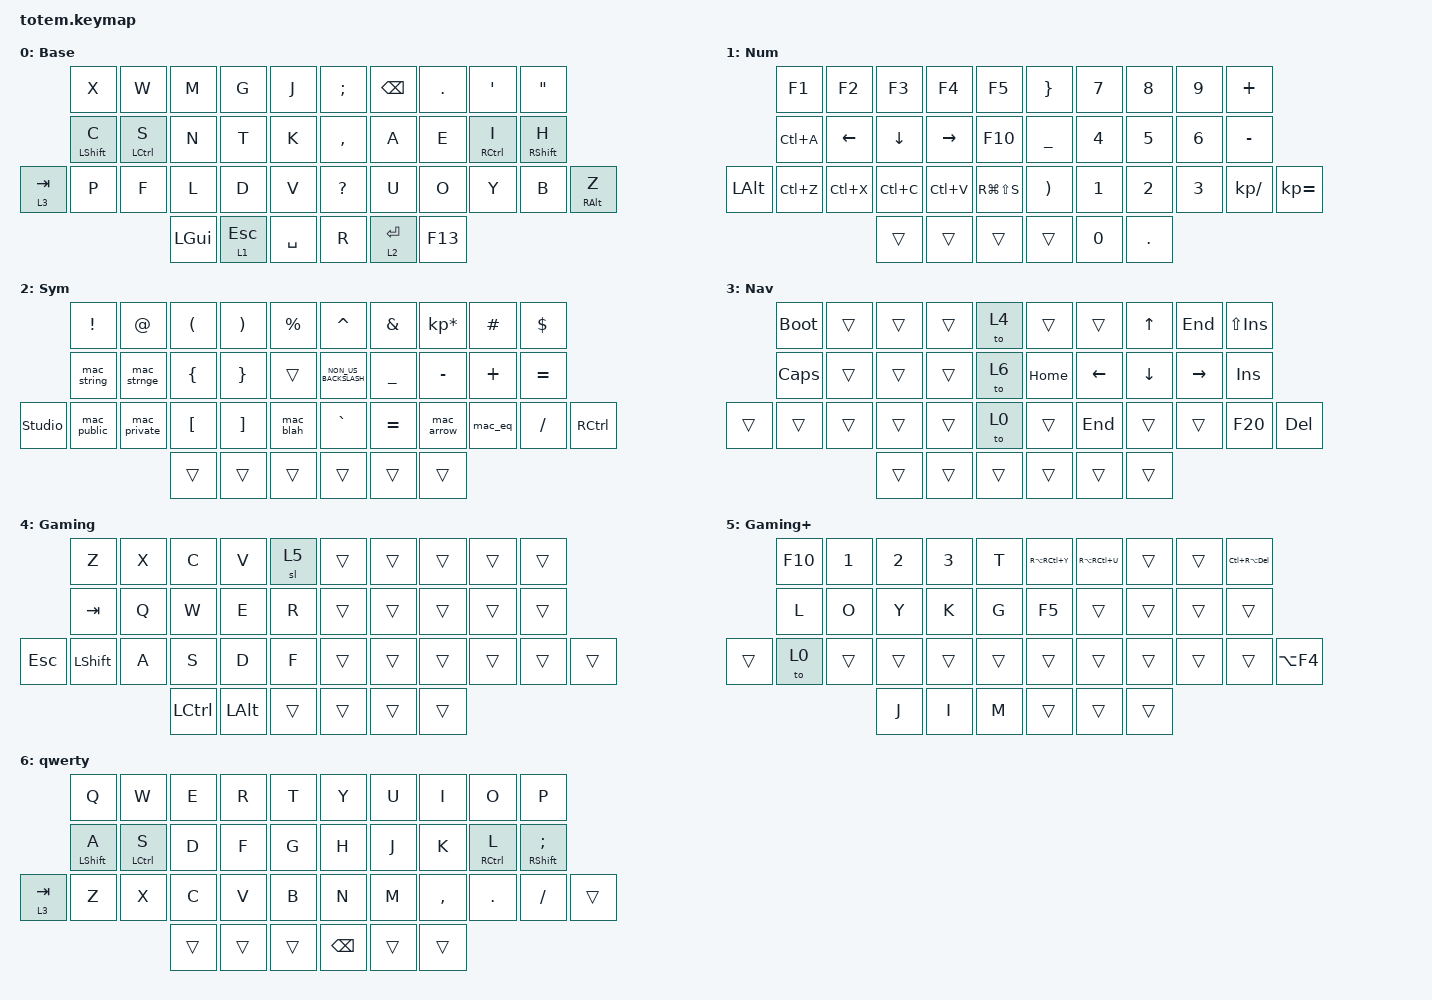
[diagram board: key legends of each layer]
//
//                                                        ▀▀▀▀▀     ▀▀▀▀▀          ▀▀█▀▀
//                                                        ▄▀▀▀▄  ▄  ▄▀▀▀▄  ▄  ▄▀▀▀▄  █  ▄▀▀▀▄
//                                                        █   █  █  █   █  █  █   █  █  █   █
//                                                         ▀▀▀   █   ▀▀▀   █   ▀▀▀   ▀   ▀▀▀
//                                                               █      ▄▄▄█▄▄▄    █   █  
//                                                               ▀      █  █  █     █▄█
//                                                             ▀▀▀▀▀    █  █  █      ▀
//                                                                      ▀  ▀  ▀
//
// ▄▄▄▄▄▄▄▄▄▄▄▄▄▄▄▄▄▄▄▄▄▄▄▄▄▄▄▄▄▄▄▄▄▄▄▄▄▄▄▄▄▄▄▄▄▄▄▄▄▄▄▄▄▄▄▄▄▄▄▄▄▄▄▄▄▄▄▄▄▄▄▄▄▄▄▄▄▄▄▄▄▄▄▄▄▄▄▄▄▄▄▄▄▄▄▄▄▄▄▄▄▄▄▄▄▄▄▄▄▄▄▄▄▄▄▄▄▄▄▄▄▄▄▄▄▄▄▄▄▄▄▄▄▄▄▄▄▄▄▄▄▄▄▄▄▄▄▄▄

#include <behaviors.dtsi>
#include <dt-bindings/zmk/keys.h>

#define Base        0
#define Nav         1
#define Sym         2
#define Fun         3
#define Game        4
#define Gameplus    5

&mt {
    quick-tap-ms = <100>;
    global-quick-tap;
    flavor = "tap-preferred";
    tapping-term-ms = <170>;
};

&lt {
    tapping-term-ms = <240>;
    flavor = "balanced";
    quick-tap-ms = <150>;
};

/ {
    behaviors {
        hm: homerow_mods {
            compatible = "zmk,behavior-hold-tap";
            label = "HOMEROW_MODS";
            #binding-cells = <2>;
            flavor = "tap-preferred";
            tapping-term-ms = <200>;
            quick-tap-ms = <125>;
            global-quick-tap;
            bindings = <&kp>, <&kp>;
        };
    };

    combos {
        compatible = "zmk,combos";

        cmb_q {
            bindings = <&kp Q>;
            key-positions = <24 25>;
        };

        cmb_qu {
            bindings = <&qu>;
            key-positions = <27 28>;
        };

        cmb_th {
            bindings = <&mac_th>;
            key-positions = <12 13>;
        };

        cmb_ch {
            bindings = <&mac_ch>;
            key-positions = <23 24>;
        };

        cmb_sh {
            bindings = <&mac_sh>;
            key-positions = <11 12>;
        };

        cmb_wh {
            bindings = <&mac_wh>;
            key-positions = <2 13>;
        };

        cmb_eq {
            bindings = <&mac_eq>;
            key-positions = <15 16>;
        };

        cmb_neq {
            bindings = <&mac_neq>;
            key-positions = <13 14>;
        };

        cmb_and {
            bindings = <&mac_and>;
            key-positions = <5 6>;
        };

        cmb_or {
            bindings = <&mac_or>;
            key-positions = <3 4>;
        };

        cmb_gt {
            bindings = <&mac_gte>;
            key-positions = <8 9>;
        };

        cmb_lt {
            bindings = <&mac_lte>;
            key-positions = <0 1>;
        };

        cmb_ph {
            bindings = <&mac_ph>;
            key-positions = <21 22>;
        };

        cmb_gh {
            bindings = <&mac_gh>;
            key-positions = <2 3>;
        };

        cmb_i {
            bindings = <&kp RS(I)>;
            key-positions = <16 15>;
        };

        cmb_up {
            bindings = <&kp UP_ARROW>;
            key-positions = <7 17>;
        };

        cmb_left {
            bindings = <&kp LEFT>;
            key-positions = <16 17>;
        };

        cmb_right {
            bindings = <&kp RIGHT>;
            key-positions = <17 18>;
        };

        cmb_down {
            bindings = <&kp DOWN>;
            key-positions = <17 28>;
        };

        cmb_home {
            bindings = <&kp HOME>;
            key-positions = <15 26>;
        };

        cmb_end {
            bindings = <&kp END>;
            key-positions = <16 27>;
        };

        cmb_dash {
            bindings = <&kp MINUS>;
            key-positions = <7 8>;
        };

        cmb_underscore {
            bindings = <&kp UNDERSCORE>;
            key-positions = <6 7>;
        };
    };

    macros {
        qu: qu {
            compatible = "zmk,behavior-macro";
            #binding-cells = <0>;
            bindings =
                <&kp Q>,
                <&macro_release>,
                <&kp RIGHT_SHIFT>,
                <&macro_tap>,
                <&kp U>;

            label = "QU";
        };

        mac_th: mac_th {
            compatible = "zmk,behavior-macro";
            #binding-cells = <0>;
            bindings =
                <&kp T>,
                <&macro_release>,
                <&kp RIGHT_SHIFT>,
                <&macro_tap>,
                <&kp H>;

            label = "MAC_TH";
        };

        mac_ch: mac_ch {
            compatible = "zmk,behavior-macro";
            #binding-cells = <0>;
            bindings =
                <&kp C>,
                <&macro_release>,
                <&kp RIGHT_SHIFT>,
                <&macro_tap>,
                <&kp H>;

            label = "MAC_CH";
        };

        mac_gh: mac_gh {
            compatible = "zmk,behavior-macro";
            #binding-cells = <0>;
            bindings =
                <&kp G>,
                <&macro_release>,
                <&kp RIGHT_SHIFT>,
                <&macro_tap>,
                <&kp H>;

            label = "MAC_GH";
        };

        mac_wh: wh {
            compatible = "zmk,behavior-macro";
            #binding-cells = <0>;
            bindings =
                <&kp W>,
                <&macro_release>,
                <&kp RIGHT_SHIFT>,
                <&macro_tap>,
                <&kp H>;

            label = "WH";
        };

        mac_ph: mac_ph {
            compatible = "zmk,behavior-macro";
            #binding-cells = <0>;
            bindings =
                <&kp P>,
                <&macro_release>,
                <&kp RIGHT_SHIFT>,
                <&macro_tap>,
                <&kp H>;

            label = "MAC_PH";
        };

        mac_sh: mac_sh {
            compatible = "zmk,behavior-macro";
            #binding-cells = <0>;
            bindings =
                <&kp S>,
                <&macro_release>,
                <&kp RIGHT_SHIFT>,
                <&macro_tap>,
                <&kp H>;

            label = "MAC_SH";
        };

        mac_public: mac_public {
            compatible = "zmk,behavior-macro";
            #binding-cells = <0>;
            bindings =
                <&kp P>,
                <&macro_release>,
                <&kp RIGHT_SHIFT>,
                <&macro_tap>,
                <&kp U &kp B &kp L &kp I &kp C>;

            label = "MAC_PUBLIC";
        };

        mac_private: mac_private {
            compatible = "zmk,behavior-macro";
            #binding-cells = <0>;
            bindings =
                <&kp P>,
                <&macro_release>,
                <&kp RIGHT_SHIFT>,
                <&macro_tap>,
                <&kp R &kp I &kp V &kp A &kp T &kp E>;

            label = "MAC_PRIVATE";
        };

        mac_and: mac_and {
            compatible = "zmk,behavior-macro";
            #binding-cells = <0>;
            bindings = <&kp AMPS &kp AMPS>;
            label = "MAC_AND";
        };

        mac_or: mac_or {
            compatible = "zmk,behavior-macro";
            #binding-cells = <0>;
            bindings = <&kp PIPE &kp PIPE>;
            label = "MAC_OR";
        };

        mac_eq: mac_eq {
            compatible = "zmk,behavior-macro";
            #binding-cells = <0>;
            bindings = <&kp EQUAL &kp EQUAL>;
            label = "MAC_EQ";
        };

        mac_arrow: mac_arrow {
            compatible = "zmk,behavior-macro";
            #binding-cells = <0>;
            bindings = <&kp EQUAL &kp GT>;
            label = "MAC_ARROW";
        };

        mac_neq: man_neq {
            compatible = "zmk,behavior-macro";
            #binding-cells = <0>;
            bindings = <&kp EXCL &kp EQUAL>;
            label = "MAN_NEQ";
        };

        mac_gte: mac_gte {
            compatible = "zmk,behavior-macro";
            #binding-cells = <0>;
            bindings = <&kp GT &kp EQUAL>;
            label = "MAC_GTE";
        };

        mac_lte: mac_lte {
            compatible = "zmk,behavior-macro";
            #binding-cells = <0>;
            bindings = <&kp EXCL &kp EQUAL>;
            label = "MAC_LTE";
        };

        mac_string: mac_string {
            compatible = "zmk,behavior-macro";
            #binding-cells = <0>;
            bindings =
                <&kp S>,
                <&macro_release>,
                <&kp RIGHT_SHIFT>,
                <&macro_tap>,
                <&kp T &kp R &kp I &kp N &kp G>;

            label = "MAC_STRING";
        };

        mac_strnge: mac_strnge {
            compatible = "zmk,behavior-macro";
            #binding-cells = <0>;
            bindings =
                <&kp S>,
                <&macro_release>,
                <&kp RIGHT_SHIFT>,
                <&macro_tap>,
                <&kp T &kp R &kp I &kp N &kp G &kp DOT &kp LS(E) &kp M &kp P &kp T &kp Y>;

            label = "MAC_STRNGE";
        };

        mac_blah: new_blah {
            compatible = "zmk,behavior-macro";
            #binding-cells = <0>;
            bindings = <&kp LS(B) &kp L &kp A &kp H &kp B &kp L &kp A &kp H &kp EXCL &kp LEFT_ARROW>;
            label = "NEW_BLAH";
        };
    };

    keymap {
        compatible = "zmk,keymap";

        Base {
            display-name = "Base";
            bindings = <
           &kp X             &kp W               &kp M         &kp G      &kp J        &kp SEMICOLON  &kp BACKSPACE  &kp PERIOD  &kp SQT              &kp DOUBLE_QUOTES
           &hm LEFT_SHIFT C  &hm LEFT_CONTROL S  &kp N         &kp T      &kp K        &kp COMMA      &kp A          &kp E       &hm RIGHT_CONTROL I  &hm RIGHT_SHIFT H
&lt 3 TAB  &kp P             &kp F               &kp L         &kp D      &kp V        &kp QUESTION   &kp U          &kp O       &kp Y                &kp B              &hm RIGHT_ALT Z
                                                 &kp LEFT_GUI  &lt 1 ESC  &kp SPACE    &kp R          &lt 2 ENTER    &kp F13
            >;
        };

        Num {
            display-name = "Num";
            bindings = <
              &kp F1     &kp F2     &kp F3     &kp F4     &kp F5           &kp RBRC        &kp NUMBER_7  &kp NUMBER_8  &kp NUMBER_9  &kp PLUS
              &kp LC(A)  &kp LEFT   &kp DOWN   &kp RIGHT  &kp F10          &kp UNDERSCORE  &kp NUMBER_4  &kp NUMBER_5  &kp NUMBER_6  &kp MINUS
&kp LEFT_ALT  &kp LC(Z)  &kp LC(X)  &kp LC(C)  &kp LC(V)  &kp RG(LS(S))    &kp RPAR        &kp NUMBER_1  &kp NUMBER_2  &kp NUMBER_3  &kp KP_DIVIDE  &kp KP_EQUAL
                                    &trans     &trans     &trans           &trans          &kp NUMBER_0  &kp DOT
            >;
        };

        Sym {
            display-name = "Sym";
            bindings = <
                &kp EXCL     &kp AT        &kp LEFT_PARENTHESIS  &kp RIGHT_PARENTHESIS  &kp PERCENT    &kp CARET             &kp AMPERSAND   &kp KP_ASTERISK  &kp HASH  &kp DOLLAR
                &mac_string  &mac_strnge   &kp LEFT_BRACE        &kp RIGHT_BRACE        &trans         &kp NON_US_BACKSLASH  &kp UNDERSCORE  &kp MINUS        &kp PLUS  &kp EQUAL
&studio_unlock  &mac_public  &mac_private  &kp LEFT_BRACKET      &kp RIGHT_BRACKET      &mac_blah      &kp GRAVE             &kp EQUAL       &mac_arrow       &mac_eq   &kp SLASH   &kp RIGHT_CONTROL
                                           &trans                &trans                 &trans         &trans                &trans          &trans
            >;
        };

        Nav {
            display-name = "Nav";
            bindings = <
        &bootloader  &trans  &trans  &trans  &to 4     &trans    &trans          &kp UP    &kp END    &kp LS(INSERT)
        &kp CAPS     &trans  &trans  &trans  &to 6     &kp HOME  &kp LEFT_ARROW  &kp DOWN  &kp RIGHT  &kp INS
&trans  &trans       &trans  &trans  &trans  &to 0     &trans    &kp END         &trans    &trans     &kp F20         &kp DELETE
                             &trans  &trans  &trans    &trans    &trans          &trans
            >;
        };

        Gaming {
            display-name = "Gaming";
            bindings = <
            &kp Z           &kp X  &kp C      &kp V         &sl 5     &trans  &trans  &trans  &trans  &trans
            &kp TAB         &kp Q  &kp W      &kp E         &kp R     &trans  &trans  &trans  &trans  &trans
&kp ESCAPE  &kp LEFT_SHIFT  &kp A  &kp S      &kp D         &kp F     &trans  &trans  &trans  &trans  &trans  &trans
                                   &kp LCTRL  &kp LEFT_ALT  &trans    &trans  &trans  &trans
            >;
        };

        Gaming+ {
            display-name = "Gaming+";
            bindings = <
        &kp F10  &kp NUMBER_1  &kp NUMBER_2  &kp NUMBER_3  &kp T     &kp RA(RC(Y))  &kp RA(RC(U))  &trans  &trans  &kp LC(RA(DEL))
        &kp L    &kp O         &kp Y         &kp K         &kp G     &kp F5         &trans         &trans  &trans  &trans
&trans  &to 0    &trans        &trans        &trans        &trans    &trans         &trans         &trans  &trans  &trans           &kp LA(F4)
                               &kp J         &kp I         &kp M     &trans         &trans         &trans
            >;
        };

        qwerty {
            bindings = <
           &kp Q             &kp W               &kp E   &kp R   &kp T     &kp Y          &kp U   &kp I      &kp O                &kp P
           &hm LEFT_SHIFT A  &hm LEFT_CONTROL S  &kp D   &kp F   &kp G     &kp H          &kp J   &kp K      &hm RIGHT_CONTROL L  &hm RIGHT_SHIFT SEMI
&lt 3 TAB  &kp Z             &kp X               &kp C   &kp V   &kp B     &kp N          &kp M   &kp COMMA  &kp DOT              &kp FSLH              &trans
                                                 &trans  &trans  &trans    &kp BACKSPACE  &trans  &trans
            >;
        };
    };
};
